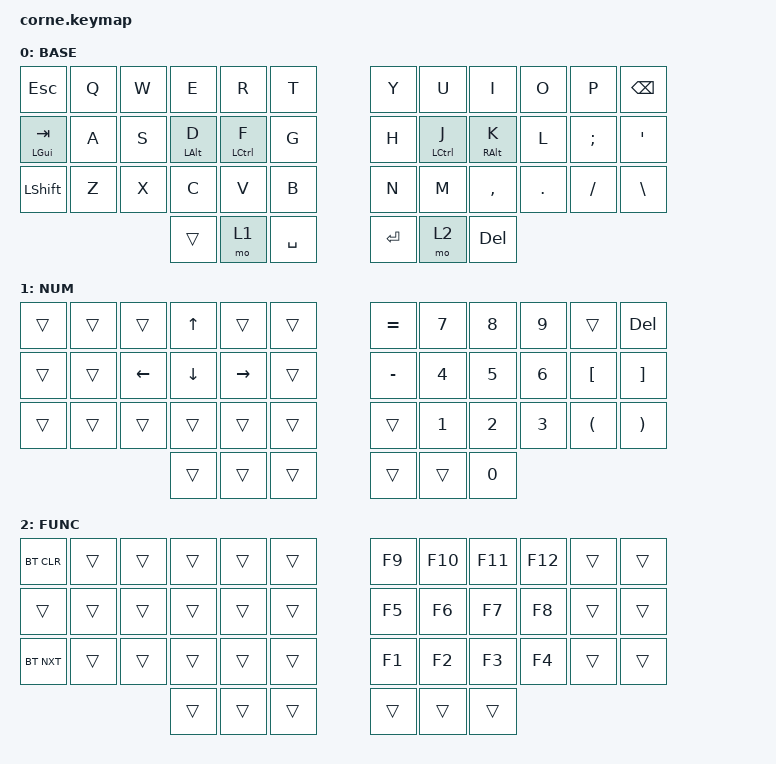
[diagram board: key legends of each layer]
/*
 * Copyright (c) 2020 The ZMK Contributors
 *
 * SPDX-License-Identifier: MIT
 */

#include <behaviors.dtsi>
#include <dt-bindings/zmk/bt.h>
#include <dt-bindings/zmk/keys.h>

#define numbers_bluetooth 1
#define special_letters 2

/ {
    combos {
        compatible = "zmk,combos";
    };

    macros {
    };

    behaviors {
        hrow: hrow {
            compatible = "zmk,behavior-hold-tap";
            label = "HROW";
            bindings = <&kp>, <&kp>;

            #binding-cells = <2>;
            flavor = "tap-preferred";
            tapping-term-ms = <300>;
        };
    };

    keymap {
        compatible = "zmk,keymap";

        BASE {
            // -----------------------------------------------------------------------------------------
            // |  TAB |  Q  |  W  |  E  |  R  |  T  |   |  Y  |  U   |  I  |  O  |  P  | BKSP |
            // | CTRL |  A  |  S  |  D  |  F  |  G  |   |  H  |  J   |  K  |  L  |  ;  |  '   |
            // | SHFT |  Z  |  X  |  C  |  V  |  B  |   |  N  |  M   |  ,  |  .  |  /  | ESC  |
            //                    | GUI | LWR | SPC |   | ENT | RSE  | ALT |

            label = "BASE";
            bindings = <
&kp ESC             &kp Q  &kp W  &kp E             &kp R                 &kp T      &kp Y    &kp U                 &kp I              &kp O    &kp P     &kp BSPC
&hrow LEFT_GUI TAB  &kp A  &kp S  &hrow LEFT_ALT D  &hrow LEFT_CONTROL F  &kp G      &kp H    &hrow LEFT_CONTROL J  &hrow RIGHT_ALT K  &kp L    &kp SEMI  &kp APOS
&kp LSHFT           &kp Z  &kp X  &kp C             &kp V                 &kp B      &kp N    &kp M                 &kp COMMA          &kp DOT  &kp FSLH  &kp BACKSLASH
                                  &trans            &mo 1                 &kp SPACE  &kp RET  &mo 2                 &kp DELETE
            >;
        };

        NUM {
            bindings = <
&trans  &trans  &trans    &kp UP    &trans     &trans  &kp EQUAL  &kp N7  &kp N8  &kp N9  &trans                &kp DEL
&trans  &trans  &kp LEFT  &kp DOWN  &kp RIGHT  &trans  &kp MINUS  &kp N4  &kp N5  &kp N6  &kp LBKT              &kp RBKT
&trans  &trans  &trans    &trans    &trans     &trans  &trans     &kp N1  &kp N2  &kp N3  &kp LEFT_PARENTHESIS  &kp RIGHT_PARENTHESIS
                          &trans    &trans     &trans  &trans     &trans  &kp N0
            >;

            label = "NUM";
        };

        FUNC {
            bindings = <
&bt BT_CLR  &trans  &trans  &trans  &trans  &trans  &kp F9  &kp F10  &kp F11  &kp F12  &trans  &trans
&trans      &trans  &trans  &trans  &trans  &trans  &kp F5  &kp F6   &kp F7   &kp F8   &trans  &trans
&bt BT_NXT  &trans  &trans  &trans  &trans  &trans  &kp F1  &kp F2   &kp F3   &kp F4   &trans  &trans
                            &trans  &trans  &trans  &trans  &trans   &trans
            >;

            label = "FUNC";
        };
    };
};
